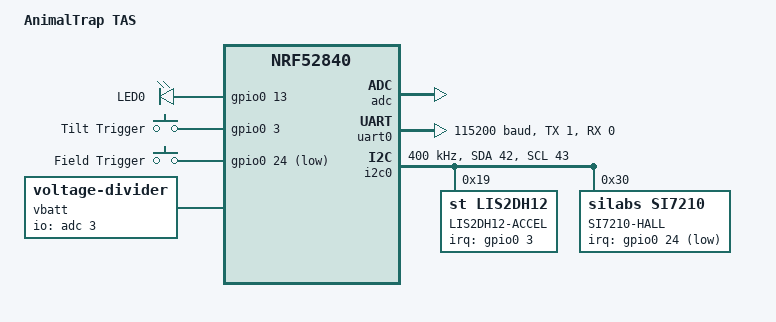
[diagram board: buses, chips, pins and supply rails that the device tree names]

/dts-v1/;
#include <nordic/nrf52840_qiaa.dtsi>

/ {
	model = "AnimalTrap TAS";

	chosen {
		zephyr,console = &uart0;
		zephyr,shell-uart = &uart0;
		zephyr,uart-mcumgr = &uart0;
		zephyr,bt-mon-uart = &uart0;
		zephyr,bt-c2h-uart = &uart0;
		zephyr,sram = &sram0;
		zephyr,flash = &flash0;
		zephyr,code-partition = &slot0_partition;
	};

	/* These aliases are provided for compatibility with samples */
	aliases {
		led0 = &led0;
		sw0 = &button0;
		alert1 = &button0;
		alert2 = &button1;
	};

	leds {
		compatible = "gpio-leds";
		led0: led_0 {
			gpios = <&gpio0 13 0>;
			label = "LED0";
		};
	};

	buttons {
		compatible = "gpio-keys";
		button0: button_0 {
			gpios = <&gpio0 3 GPIO_ACTIVE_HIGH>;
			label = "Tilt Trigger";
		};
		button1: button_1 {
			gpios = <&gpio0 24 (GPIO_PULL_UP | GPIO_ACTIVE_LOW)>;
			label = "Field Trigger";
		};
	};

	vbatt {
		compatible = "voltage-divider";
		io-channels = <&adc 3>;
		output-ohms = <1000000>;
		full-ohms = <(1000000 + 1000000)>;
	};
};

&adc {
	status = "okay";
};

&gpiote {
	status = "okay";
};

&gpio0 {
	status = "okay";
};

&gpio1 {
	status = "okay";
};

&uart0 {
       	compatible = "nordic,nrf-uart";
	current-speed = <115200>;
	status = "okay";
	tx-pin = <1>;
	rx-pin = <0>;
};

&i2c0 {
        compatible = "nordic,nrf-twim";
	status = "okay";
	clock-frequency = <I2C_BITRATE_FAST>;
	sda-pin = <42>;
	scl-pin = <43>;

	lis2dh12: lis2dh12@19 {
		compatible = "st,lis2dh12", "st,lis2dh";
  		reg = <0x19>;
                irq-gpios = <&gpio0 3 GPIO_ACTIVE_HIGH>;
		label = "LIS2DH12-ACCEL";
	};

	si7210@30 {
                compatible = "silabs,si7210";
                reg = <0x30>;
                irq-gpios = <&gpio0 24 GPIO_ACTIVE_LOW>;
                label = "SI7210-HALL";
        };
};

&flash0 {
	/*
	 * For more information, see:
	 * http://docs.zephyrproject.org/latest/guides/dts/index.html#flash-partitions
	 */
	partitions {
		compatible = "fixed-partitions";
		#address-cells = <1>;
		#size-cells = <1>;

		boot_partition: partition@0 {
			label = "mcuboot";
			reg = <0x000000000 0x0000C000>;
		};
		slot0_partition: partition@c000 {
			label = "image-0";
			reg = <0x0000C000 0x00067000>;
		};
		slot1_partition: partition@73000 {
			label = "image-1";
			reg = <0x00073000 0x00067000>;
		};
		scratch_partition: partition@da000 {
			label = "image-scratch";
			reg = <0x000da000 0x0001e000>;
		};

		/*
		 * The flash starting at 0x000f8000 and ending at
		 * 0x000fffff is reserved for use by the application.
		 */

		/* Storage partition will be used by FCB/NFFS/NVS if enabled. */
		storage_partition: partition@f8000 {
			label = "storage";
			reg = <0x000f8000 0x00008000>;
		};
	};
};

